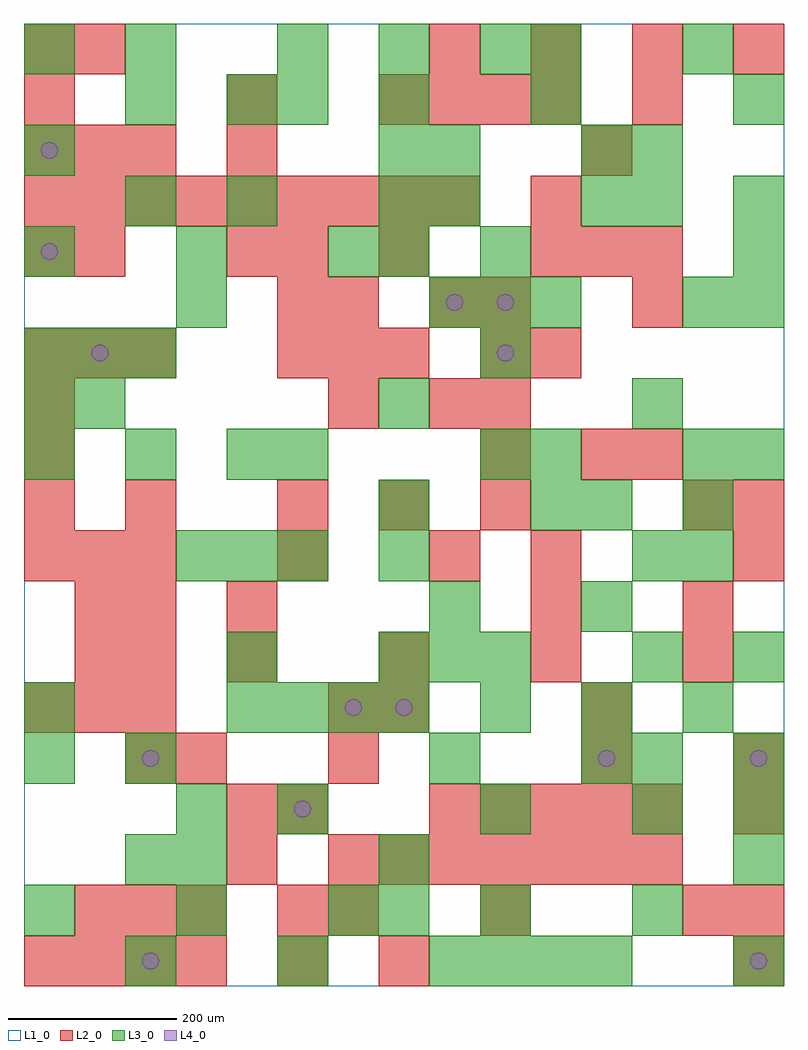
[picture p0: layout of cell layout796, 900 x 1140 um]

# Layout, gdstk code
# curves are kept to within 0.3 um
import gdstk
lib = gdstk.Library(unit=1e-6, precision=1e-09)
def R(c, l, rs):  # rectangles x0, y0, x1, y1
    for r in rs: c.add(gdstk.rectangle(r[:2], r[2:], *l))
def A(c, l, x, y, w, h, nx, ny, dx, dy):  # array of equal rectangles
    R(c, l, [(x+i*dx, y+j*dy, x+i*dx+w, y+j*dy+h) for i in range(nx) for j in range(ny)])
def P(c, l, *ps):  # polygons
    for p in ps: c.add(gdstk.Polygon(p, *l))
L1_0 = (1, 0)
L2_0 = (2, 0)
L3_0 = (3, 0)
L4_0 = (4, 0)

layout796 = lib.new_cell('layout796')
R(layout796, L1_0, [(0,0,900,1140)])
A(layout796, L2_0, 0, 0, 60, 60, 4, 1, 60, 0)
A(layout796, L2_0, 60, 60, 60, 60, 3, 1, 60, 0)
A(layout796, L2_0, 360, 120, 60, 60, 7, 1, 60, 0)
A(layout796, L2_0, 300, 180, 60, 60, 1, 3, 0, 300)
A(layout796, L2_0, 480, 180, 60, 60, 5, 1, 60, 0)
A(layout796, L2_0, 0, 300, 60, 60, 3, 2, 60, 180)
A(layout796, L2_0, 240, 360, 60, 60, 4, 1, 180, 0)
A(layout796, L2_0, 0, 540, 60, 60, 1, 3, 0, 60)
A(layout796, L2_0, 300, 540, 60, 60, 3, 1, 120, 0)
A(layout796, L2_0, 540, 600, 60, 60, 1, 4, 0, 60)
A(layout796, L2_0, 0, 720, 60, 60, 3, 2, 60, 240)
A(layout796, L2_0, 300, 720, 60, 60, 3, 1, 60, 0)
A(layout796, L2_0, 600, 840, 60, 60, 3, 1, 60, 0)
A(layout796, L2_0, 0, 900, 60, 60, 9, 1, 60, 0)
A(layout796, L2_0, 420, 1020, 60, 60, 4, 1, 60, 0)
A(layout796, L2_0, 480, 1080, 60, 60, 4, 1, 120, 0)
R(layout796, L2_0, [(300,0,360,60), (420,0,480,60), (840,0,900,60), (300,60,360,120), (360,60,420,120), (540,60,600,120), (780,60,840,120), (840,60,900,120), (240,120,300,180), (240,180,300,240), (840,180,900,240), (120,240,180,300), (180,240,240,300), (360,240,420,300), (660,240,720,300), (840,240,900,300), (360,300,420,360), (420,300,480,360), (660,300,720,360), (60,360,120,420), (120,360,180,420), (60,420,120,480), (120,420,180,480), (240,420,300,480), (600,420,660,480), (780,420,840,480), (480,480,540,540), (600,480,660,540), (840,480,900,540), (120,540,180,600), (780,540,840,600), (840,540,900,600), (660,600,720,660), (720,600,780,660), (360,660,420,720), (480,660,540,720), (600,720,660,780), (360,780,420,840), (480,780,540,840), (720,780,780,840), (0,840,60,900), (60,840,120,900), (240,840,300,900), (300,840,360,900), (420,840,480,900), (600,900,660,960), (240,960,300,1020), (660,960,720,1020), (0,1020,60,1080), (240,1020,300,1080), (720,1020,780,1080), (0,1080,60,1140), (60,1080,120,1140)])
A(layout796, L3_0, 120, 0, 60, 60, 3, 1, 180, 0)
A(layout796, L3_0, 540, 0, 60, 60, 3, 1, 60, 0)
A(layout796, L3_0, 0, 60, 60, 60, 3, 2, 180, 780)
A(layout796, L3_0, 840, 120, 60, 60, 1, 3, 0, 60)
A(layout796, L3_0, 300, 180, 60, 60, 1, 3, 0, 420)
A(layout796, L3_0, 720, 240, 60, 60, 1, 3, 0, 120)
A(layout796, L3_0, 240, 300, 60, 60, 4, 1, 60, 0)
A(layout796, L3_0, 540, 300, 60, 60, 3, 1, 120, 0)
A(layout796, L3_0, 420, 360, 60, 60, 3, 1, 60, 0)
A(layout796, L3_0, 180, 480, 60, 60, 3, 1, 60, 0)
A(layout796, L3_0, 780, 480, 60, 60, 1, 3, 0, 60)
A(layout796, L3_0, 0, 600, 60, 60, 3, 1, 120, 0)
A(layout796, L3_0, 540, 600, 60, 60, 1, 3, 0, 120)
A(layout796, L3_0, 0, 720, 60, 60, 3, 1, 60, 0)
A(layout796, L3_0, 480, 780, 60, 60, 3, 1, 60, 0)
A(layout796, L3_0, 840, 780, 60, 60, 1, 3, 0, 60)
A(layout796, L3_0, 420, 840, 60, 60, 1, 4, 0, 60)
A(layout796, L3_0, 300, 1080, 60, 60, 3, 1, 120, 0)
R(layout796, L3_0, [(840,0,900,60), (420,60,480,120), (540,60,600,120), (720,60,780,120), (120,120,180,180), (180,120,240,180), (420,120,480,180), (180,180,240,240), (540,180,600,240), (720,180,780,240), (0,240,60,300), (120,240,180,300), (480,240,540,300), (660,240,720,300), (0,300,60,360), (240,360,300,420), (840,360,900,420), (480,420,540,480), (660,420,720,480), (420,480,480,540), (420,540,480,600), (600,540,660,600), (660,540,720,600), (600,600,660,660), (840,600,900,660), (0,660,60,720), (60,660,120,720), (420,660,480,720), (720,660,780,720), (180,780,240,840), (780,780,840,840), (120,900,180,960), (240,900,300,960), (480,900,540,960), (660,900,720,960), (720,900,780,960), (0,960,60,1020), (480,960,540,1020), (660,960,720,1020), (720,960,780,1020), (120,1020,180,1080), (240,1020,300,1080), (600,1020,660,1080), (840,1020,900,1080), (0,1080,60,1140), (120,1080,180,1140), (600,1080,660,1140), (780,1080,840,1140)])
P(layout796, L4_0, [(40,870),(39.239,873.827),(37.071,877.071),(33.827,879.239),(30,880),(26.173,879.239),(22.929,877.071),(20.761,873.827),(20,870),(20.761,866.173),(22.929,862.929),(26.173,860.761),(30,860),(33.827,860.761),(37.071,862.929),(39.239,866.173)],
  [(40,990),(39.239,993.827),(37.071,997.071),(33.827,999.239),(30,1000),(26.173,999.239),(22.929,997.071),(20.761,993.827),(20,990),(20.761,986.173),(22.929,982.929),(26.173,980.761),(30,980),(33.827,980.761),(37.071,982.929),(39.239,986.173)],
  [(100,750),(99.239,753.827),(97.071,757.071),(93.827,759.239),(90,760),(86.173,759.239),(82.929,757.071),(80.761,753.827),(80,750),(80.761,746.173),(82.929,742.929),(86.173,740.761),(90,740),(93.827,740.761),(97.071,742.929),(99.239,746.173)],
  [(160,30),(159.239,33.827),(157.071,37.071),(153.827,39.239),(150,40),(146.173,39.239),(142.929,37.071),(140.761,33.827),(140,30),(140.761,26.173),(142.929,22.929),(146.173,20.761),(150,20),(153.827,20.761),(157.071,22.929),(159.239,26.173)],
  [(160,270),(159.239,273.827),(157.071,277.071),(153.827,279.239),(150,280),(146.173,279.239),(142.929,277.071),(140.761,273.827),(140,270),(140.761,266.173),(142.929,262.929),(146.173,260.761),(150,260),(153.827,260.761),(157.071,262.929),(159.239,266.173)],
  [(340,210),(339.239,213.827),(337.071,217.071),(333.827,219.239),(330,220),(326.173,219.239),(322.929,217.071),(320.761,213.827),(320,210),(320.761,206.173),(322.929,202.929),(326.173,200.761),(330,200),(333.827,200.761),(337.071,202.929),(339.239,206.173)],
  [(400,330),(399.239,333.827),(397.071,337.071),(393.827,339.239),(390,340),(386.173,339.239),(382.929,337.071),(380.761,333.827),(380,330),(380.761,326.173),(382.929,322.929),(386.173,320.761),(390,320),(393.827,320.761),(397.071,322.929),(399.239,326.173)],
  [(460,330),(459.239,333.827),(457.071,337.071),(453.827,339.239),(450,340),(446.173,339.239),(442.929,337.071),(440.761,333.827),(440,330),(440.761,326.173),(442.929,322.929),(446.173,320.761),(450,320),(453.827,320.761),(457.071,322.929),(459.239,326.173)],
  [(520,810),(519.239,813.827),(517.071,817.071),(513.827,819.239),(510,820),(506.173,819.239),(502.929,817.071),(500.761,813.827),(500,810),(500.761,806.173),(502.929,802.929),(506.173,800.761),(510,800),(513.827,800.761),(517.071,802.929),(519.239,806.173)],
  [(580,750),(579.239,753.827),(577.071,757.071),(573.827,759.239),(570,760),(566.173,759.239),(562.929,757.071),(560.761,753.827),(560,750),(560.761,746.173),(562.929,742.929),(566.173,740.761),(570,740),(573.827,740.761),(577.071,742.929),(579.239,746.173)],
  [(580,810),(579.239,813.827),(577.071,817.071),(573.827,819.239),(570,820),(566.173,819.239),(562.929,817.071),(560.761,813.827),(560,810),(560.761,806.173),(562.929,802.929),(566.173,800.761),(570,800),(573.827,800.761),(577.071,802.929),(579.239,806.173)],
  [(700,270),(699.239,273.827),(697.071,277.071),(693.827,279.239),(690,280),(686.173,279.239),(682.929,277.071),(680.761,273.827),(680,270),(680.761,266.173),(682.929,262.929),(686.173,260.761),(690,260),(693.827,260.761),(697.071,262.929),(699.239,266.173)],
  [(880,30),(879.239,33.827),(877.071,37.071),(873.827,39.239),(870,40),(866.173,39.239),(862.929,37.071),(860.761,33.827),(860,30),(860.761,26.173),(862.929,22.929),(866.173,20.761),(870,20),(873.827,20.761),(877.071,22.929),(879.239,26.173)],
  [(880,270),(879.239,273.827),(877.071,277.071),(873.827,279.239),(870,280),(866.173,279.239),(862.929,277.071),(860.761,273.827),(860,270),(860.761,266.173),(862.929,262.929),(866.173,260.761),(870,260),(873.827,260.761),(877.071,262.929),(879.239,266.173)])

lib.write_gds('layout796.gds')
